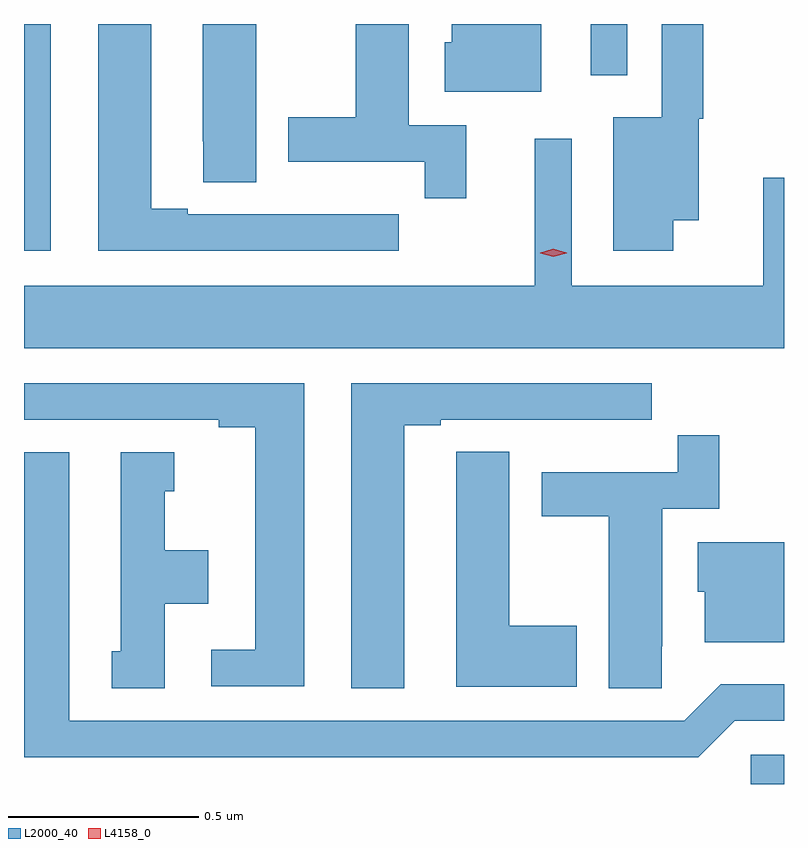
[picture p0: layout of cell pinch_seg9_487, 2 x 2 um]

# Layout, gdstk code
import gdstk
lib = gdstk.Library(unit=1e-6, precision=1e-09)
def R(c, l, rs):  # rectangles x0, y0, x1, y1
    for r in rs: c.add(gdstk.rectangle(r[:2], r[2:], *l))
def P(c, l, *ps):  # polygons
    for p in ps: c.add(gdstk.Polygon(p, *l))
L2000_40 = (2000, 40)
L4158_0 = (4158, 0)

pinch_seg9_487 = lib.new_cell('pinch_seg9_487')
R(pinch_seg9_487, L2000_40, [(172.587,1180.621,172.675,1180.698), (170.675,1182.024,170.746,1182.621), (172.166,1182.486,172.263,1182.621)])
P(pinch_seg9_487, L2000_40, [(172.036,1182.621),(171.8,1182.621),(171.8,1182.573),(171.782,1182.573),(171.782,1182.443),(172.036,1182.443)],
  [(171.661,1182.12),(171.548,1182.12),(171.548,1182.121),(171.382,1182.121),(171.382,1182.12),(171.106,1182.12),(171.106,1182.135),(171.01,1182.135),(171.01,1182.621),(170.87,1182.621),(170.87,1182.024),(171.661,1182.024)],
  [(171.286,1182.621),(171.146,1182.621),(171.146,1182.313),(171.147,1182.313),(171.147,1182.205),(171.286,1182.205)],
  [(171.839,1182.354),(171.688,1182.354),(171.688,1182.621),(171.548,1182.621),(171.548,1182.375),(171.371,1182.375),(171.371,1182.258),(171.73,1182.258),(171.73,1182.162),(171.839,1182.162)],
  [(172.384,1182.104),(172.45,1182.104),(172.45,1182.372),(172.462,1182.372),(172.462,1182.621),(172.353,1182.621),(172.353,1182.376),(172.226,1182.376),(172.226,1182.024),(172.384,1182.024)],
  [(172.675,1182.217),(172.621,1182.217),(172.621,1181.932),(172.116,1181.932),(172.116,1182.319),(172.019,1182.319),(172.019,1181.932),(170.675,1181.932),(170.675,1181.768),(172.675,1181.768)],
  [(171.676,1181.565),(171.772,1181.565),(171.772,1181.58),(172.048,1181.58),(172.048,1181.579),(172.214,1181.579),(172.214,1181.58),(172.327,1181.58),(172.327,1181.676),(171.536,1181.676),(171.536,1180.873),(171.676,1180.873)],
  [(171.412,1181.676),(170.675,1181.676),(170.675,1181.58),(171.188,1181.58),(171.188,1181.56),(171.284,1181.56),(171.284,1180.974),(171.168,1180.974),(171.168,1180.878),(171.412,1180.878)],
  [(172.353,1180.984),(172.354,1180.984),(172.354,1181.346),(172.505,1181.346),(172.505,1181.539),(172.396,1181.539),(172.396,1181.442),(172.037,1181.442),(172.037,1181.326),(172.214,1181.326),(172.214,1180.873),(172.353,1180.873)],
  [(172.129,1181.037),(171.952,1181.037),(171.952,1181.495),(171.813,1181.495),(171.813,1181.387),(171.812,1181.387),(171.812,1180.877),(172.129,1180.877)],
  [(171.046,1181.096),(171.16,1181.096),(171.16,1181.236),(171.046,1181.236),(171.046,1181.391),(171.07,1181.391),(171.07,1181.494),(170.93,1181.494),(170.93,1180.971),(170.906,1180.971),(170.906,1180.873),(171.046,1180.873)],
  [(172.545,1180.788),(172.675,1180.788),(172.675,1180.884),(172.509,1180.884),(172.413,1180.788),(170.794,1180.788),(170.794,1181.494),(170.675,1181.494),(170.675,1180.692),(172.449,1180.692)],
  [(172.675,1181.257),(172.448,1181.257),(172.448,1181.127),(172.466,1181.127),(172.466,1180.994),(172.675,1180.994)])
P(pinch_seg9_487, L4158_0, [(172.068,1182.009),(172.034,1182.018),(172.033,1182.019),(172.034,1182.019),(172.068,1182.029),(172.103,1182.019),(172.103,1182.019),(172.103,1182.018)])

lib.write_gds('pinch_seg9_487.gds')
